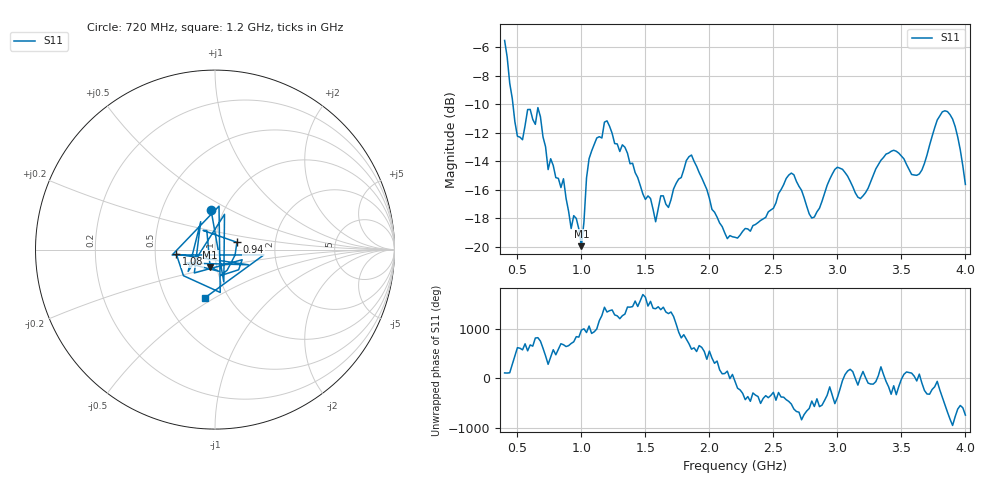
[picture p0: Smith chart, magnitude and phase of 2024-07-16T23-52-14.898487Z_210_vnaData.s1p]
!Created with skrf (http://scikit-rf.org).
# Hz S RI R 50.0
!freq ReS11 ImS11
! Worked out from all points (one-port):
!   181 points, 400 MHz to 4 GHz, reference 50 ohm
!   lowest |S11| = -20.0 dB at 1 GHz (marker M1), VSWR 1.22, Z = 46.5 - j9.1 ohm
!   |S11| at or under -10 dB: 464.8 MHz to end of sweep
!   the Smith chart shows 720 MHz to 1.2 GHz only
!   S11 on the Smith chart (normalised r, x): 720 MHz: 0.87, +0.41; 940 MHz: 1.27, +0.11; 1.08 GHz: 0.65, -0.03; 1.2 GHz: 0.77, -0.45
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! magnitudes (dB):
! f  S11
! 400 MHz  -5.5
! 500 MHz  -12.3
! 660 MHz  -10.2
! 720 MHz  -13.0
! 740 MHz  -14.6
! 860 MHz  -15.2
! 920 MHz  -18.7
! 940 MHz  -17.8
! 1 GHz  -20.0
! 1.04 GHz  -15.2
! 1.08 GHz  -13.3
! 1.2 GHz  -11.2
! 1.3 GHz  -13.3
! 1.58 GHz  -18.2
! 1.76 GHz  -15.3
! 1.86 GHz  -13.6
! 2.2 GHz  -19.3
! 2.66 GHz  -15.0
! 2.8 GHz  -18.0
! 2.98 GHz  -14.6
! 3.1 GHz  -15.4
! 3.18 GHz  -16.6
! 3.44 GHz  -13.2
! 3.56 GHz  -14.6
! 3.66 GHz  -14.6
! 3.84 GHz  -10.5
! 3.92 GHz  -11.6
! 4 GHz  -15.6
